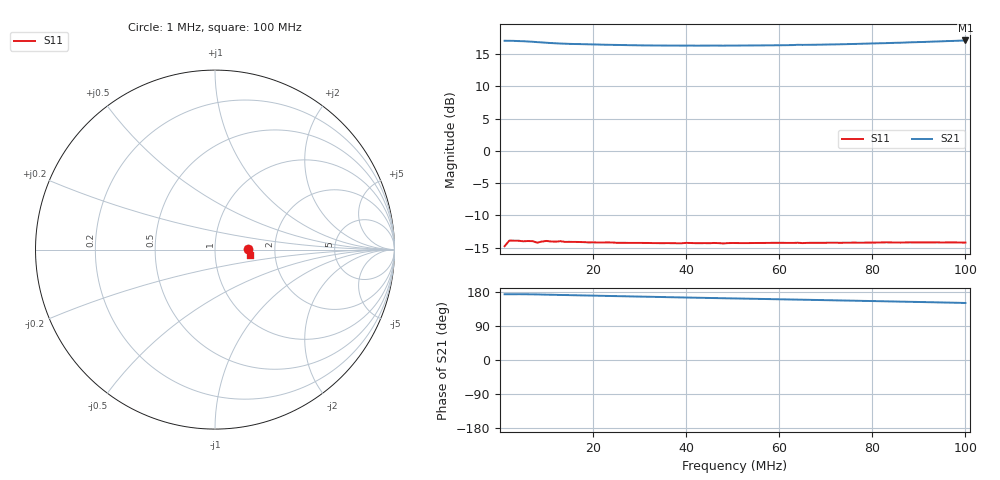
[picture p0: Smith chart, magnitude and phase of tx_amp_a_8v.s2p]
# HZ S RI R 50
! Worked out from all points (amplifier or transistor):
!   100 points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, 1 MHz to 100 MHz, reference 50 ohm
!   highest |S21| = 17.1 dB at 100 MHz (marker M1)
!   |S21| within 3 dB of that: start of sweep to end of sweep
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1000001  0.1829 0.00272  -7.088 0.8152  0 0  0 0
2000001  0.2018 0.000911  -7.087 0.7981  0 0  0 0
5000001  0.1995 -0.00354  -7.037 0.7952  0 0  0 0
8000001  0.1947 -0.00542  -6.916 0.8358  0 0  0 0
1e7  0.2008 -0.00277  -6.826 0.9121  0 0  0 0
1.3e7  0.1999 -0.00286  -6.718 0.9953  0 0  0 0
1.4e7  0.1974 -0.00332  -6.695 1.007  0 0  0 0
1.8e7  0.1965 -0.00508  -6.62 1.123  0 0  0 0
2.8e7  0.1938 -0.00578  -6.445 1.387  0 0  0 0
3.4e7  0.193 -0.00649  -6.372 1.546  0 0  0 0
4.8e7  0.1919 -0.0111  -6.252 1.922  0 0  0 0
5.1e7  0.1931 -0.0107  -6.241 1.991  0 0  0 0
6.1e7  0.1935 -0.0138  -6.196 2.253  0 0  0 0
6.3e7  0.1933 -0.0143  -6.193 2.309  0 0  0 0
6.4e7  0.1939 -0.0147  -6.213 2.345  0 0  0 0
6.7e7  0.1935 -0.0159  -6.185 2.422  0 0  0 0
7.4e7  0.1936 -0.0183  -6.175 2.629  0 0  0 0
8.4e7  0.194 -0.0245  -6.196 2.947  0 0  0 0
8.6e7  0.1933 -0.0262  -6.191 3.024  0 0  0 0
8.8e7  0.1941 -0.0269  -6.21 3.094  0 0  0 0
9.1e7  0.1937 -0.0276  -6.217 3.184  0 0  0 0
1e8  0.1923 -0.0319  -6.243 3.537  0 0  0 0
